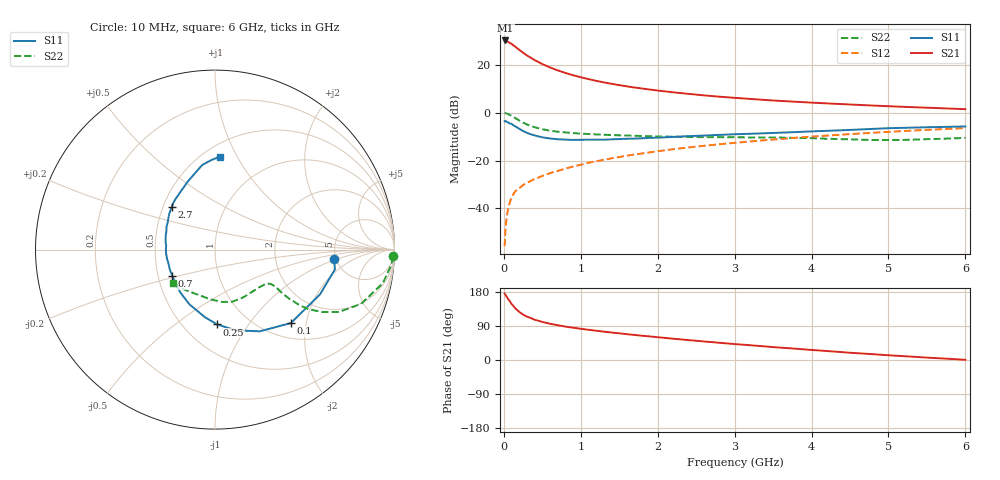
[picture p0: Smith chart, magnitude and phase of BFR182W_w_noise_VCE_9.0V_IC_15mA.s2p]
! Infineon Technologies  Discrete & RF Semiconductors
! BFR182W
! VCE =  9.0 V,  IC =  15 mA
! Common Emitter S-Parameters:  Jan 2017
# GHz  S  MA  R  50
!  f  S11  S21  S12  S22
! GHz  MAG  ANG  MAG  ANG  MAG  ANG  MAG  ANG
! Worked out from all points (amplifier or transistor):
!   77 points, 10 MHz to 6 GHz, reference 50 ohm
!   highest |S21| = 30.4 dB at 20 MHz (marker M1)
!   |S21| within 3 dB of that: start of sweep to 163.9 MHz
!   unconditionally stable (mu >= 1): 935.5 MHz to 2.488 GHz
!   at 130 MHz: K = 0.35, MSG = 31.0 dB, |S12| = -33.8 dB
!   at 2.2 GHz: K = 1.02, MAG = 11.2 dB, |S12| = -15.3 dB
!   at 6 GHz: K = 0.86, MSG = 4.0 dB, |S12| = -6.4 dB
!   lowest NFmin = 1.25 dB at 450 MHz
!   S11 on the Smith chart (normalised r, x): 10 MHz: 4.81, -0.92; 100 MHz: 1.31, -1.64; 250 MHz: 0.72, -0.72; 700 MHz: 0.59, -0.19; 2.7 GHz: 0.55, +0.30; 6 GHz: 0.60, +0.85
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0.01  0.6663 -4.6  32.73 175.5  0.0016 92.7  0.9903 -2.2
0.02  0.677 -9.4  32.95 172.5  0.0034 91.7  0.9871 -4.8
0.05  0.6363 -23.0  31.22 162.6  0.0087 79.0  0.9535 -11.3
0.1  0.5887 -44.0  27.96 147.9  0.0168 73.7  0.8686 -20.4
0.15  0.5191 -61.3  24.3 136.1  0.0229 67.5  0.7732 -26.7
0.2  0.4637 -75.8  20.98 127.0  0.0262 66.5  0.6914 -30.2
0.25  0.4169 -88.4  18.28 119.8  0.0306 64.1  0.624 -32.3
0.3  0.3808 -98.5  16 114.4  0.0339 62.4  0.57 -33.3
0.4  0.3368 -115.0  12.77 106.2  0.0409 64.3  0.4988 -33.5
0.5  0.3076 -128.7  10.53 100.4  0.0474 65.2  0.4533 -33.1
0.6  0.2896 -139.4  8.965 95.7  0.0545 65.5  0.4231 -32.4
0.7  0.2797 -148.6  7.776 91.8  0.0604 67.3  0.4025 -31.8
0.9  0.2707 -163.4  6.143 85.2  0.0749 68.0  0.3764 -31.5
1.1  0.2732 -175.1  5.099 79.8  0.0895 69.0  0.3598 -32.1
1.3  0.273 175.1  4.353 74.8  0.1032 68.7  0.348 -33.3
1.5  0.282 167.3  3.813 70.4  0.1187 68.7  0.3375 -35.2
2.1  0.3069 148.8  2.814 58.2  0.1645 66.1  0.3178 -44.4
2.7  0.3391 135.1  2.255 47.3  0.2113 62.6  0.3091 -56.4
3.1  0.3596 126.9  2.011 40.6  0.243 59.8  0.3065 -64.4
4.1  0.4137 110.4  1.608 25.1  0.3252 51.8  0.2902 -84.7
5.1  0.4806 97.3  1.356 11.3  0.4075 42.5  0.2693 -114.2
6  0.5182 87.2  1.196 0.6  0.4786 33.6  0.2993 -141.3
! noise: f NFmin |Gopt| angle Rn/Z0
0.45  1.25  0.04  146  0.15
0.9  1.33  0.05  146  0.15
1.9  1.82  0.24  -148  0.15
2.4  2.07  0.24  -133  0.22
